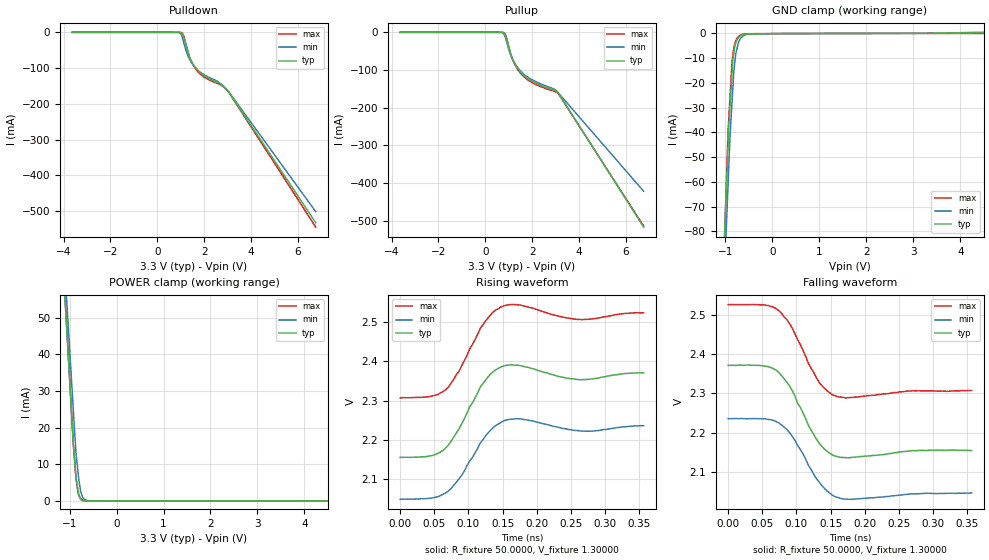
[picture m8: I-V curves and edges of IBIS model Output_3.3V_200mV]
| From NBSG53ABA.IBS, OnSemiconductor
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[Model] Output_3.3V_200mV
Model_type Output_ECL
Vref=1.30000V
Rref=50.0000ohms
Cref=0.00000pF
Vmeas=2.26000V
C_comp 500.0fF 500.0fF 500.0fF
[Model Spec]
Vmeas 2.262625   2.14142   2.415815
|Vref  1.30000V  1.1350V  1.4650V
|Rref  50ohms   50ohms   50ohms
|Cref  0.00pF   0.00pF   0.00pF
| variable typ   min   max
[Voltage Range]   3.30000V  3.13500V  3.46500V
[POWER Clamp Reference] 3.30000V  3.13500V  3.46500V
[Pullup Reference]   3.30000V  3.13500V  3.46500V
[Pulldown Reference]   3.30000V  3.13500V  3.46500V
[GND Clamp Reference]   0.00000V  0.00000V  0.00000V
[Temperature Range]  25   85   0
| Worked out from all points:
|   GND clamp passes 1 mA (typ) near -0.69 V on its own axis
|   POWER clamp passes 1 mA (typ) near -0.78 V on its own axis
|   falling waveform, R_fixture 50.0000, V_fixture 1.30000: 20-80 % time 38.3ps typ, 37.8ps min, 37.8ps max; typ from 2.37 V to 2.15 V
|   rising waveform, R_fixture 50.0000, V_fixture 1.30000: 20-80 % time 40.4ps typ, 41ps min, 39.6ps max; typ from 2.15 V to 2.37 V
[GND Clamp]
-3.3V     -1.415A    -1.34A     -1.377A
-1.023V   -84.87mA   -99.06mA   -85.41mA
-942mV    -45.21mA   -60.81mA   -39.4mA
-921.7mV  -35.26mA   -51.22mA   -32.53mA
-901.3mV  -29.04mA   -41.61mA   -25.64mA
-861.1mV  -16.75mA   -28.61mA   -12.03mA
-841mV    -10.61mA   -22.12mA   -8.898mA
-820.9mV  -7.934mA   -15.62mA   -5.756mA
-780.5mV  -4.005mA   -8.315mA   -2.949mA
-679.2mV  -888uA     -2.011mA   -648uA
61.72mV   -57.95uA   -46.75uA   -66uA
6.6V      1.235mA    57.49uA    37.43uA
[Pulldown]
-3.63V    47.47uA    70.46uA    65.04uA
853.2mV   44.99uA    -152.5uA   42.98uA
974.4mV   -220.6uA   -2.168mA   -111.8uA
1.062V    -3.538mA   -12.93mA   -1.973mA
1.143V    -16.48mA   -32.07mA   -13.17mA
1.314V    -54.8mA    -67.23mA   -56.77mA
1.479V    -83.55mA   -86.62mA   -85.36mA
1.644V    -99.83mA   -100.1mA   -103.1mA
2.002V    -121.6mA   -118.6mA   -125.2mA
2.694V    -144.2mA   -142.9mA   -146.5mA
3.064V    -167.9mA   -167.4mA   -168.9mA
6.765V    -532.6mA   -501.5mA   -544.7mA
[Pullup]
-3.63V    59.05uA    59.4uA     58.68uA
609.2mV   13.23uA    10.14uA    45.82uA
801.8mV   -1.795mA   -5.236mA   -1.191mA
877.1mV   -10.49mA   -17.55mA   -8.077mA
1.079V    -55.57mA   -59.67mA   -56.07mA
1.301V    -86.55mA   -86.67mA   -90.14mA
1.439V    -99.71mA   -97.91mA   -103mA
1.641V    -113.4mA   -110.5mA   -117.2mA
1.938V    -127.1mA   -123.6mA   -131mA
2.96V     -153.7mA   -151mA     -156.5mA
3.137V    -162.5mA   -161.7mA   -164.2mA
6.765V    -516.9mA   -421.7mA   -514.1mA
[POWER Clamp]
-3.3V     546.4mA    528.9mA    555.5mA
-1.059V   46.85mA    54.46mA    47.33mA
-918.1mV  15.34mA    24.53mA    15.28mA
-862.5mV  6.416mA    13.06mA    6.237mA
-821.7mV  3.116mA    8.172mA    2.402mA
-801.9mV  1.515mA    5.799mA    1.529mA
-761.4mV  441.8uA    2.504mA    637uA
-721.2mV  38.03uA    1.063mA    331.9uA
-700.8mV  32.66uA    638.2uA    222.6uA
-619.9mV  11.32uA    144uA      89.53uA
-497.9mV  0A         11.8uA     25.23uA
6.6V      0A         0A         0A
[Falling Waveform]
R_fixture = 50.0000
V_fixture = 1.30000
V_fixture_min = 1.13500
V_fixture_max = 1.46500
0s        2.371V     2.236V     2.525V
50.9ps    2.37V      2.235V     2.525V
74.5ps    2.353V     2.224V     2.51V
94.1ps    2.306V     2.191V     2.465V
117.6ps   2.219V     2.117V     2.376V
133.3ps   2.174V     2.075V     2.328V
145ps     2.153V     2.052V     2.307V
160.7ps   2.139V     2.036V     2.291V
270.5ps   2.155V     2.045V     2.307V
356.7ps   2.155V     2.047V     2.307V
[Rising Waveform]
R_fixture = 50.0000
V_fixture = 1.30000
V_fixture_min = 1.13500
V_fixture_max = 1.46500
0s        2.154V     2.047V     2.307V
47ps      2.159V     2.051V     2.312V
66.6ps    2.179V     2.063V     2.328V
90.1ps    2.24V      2.109V     2.389V
117.6ps   2.336V     2.192V     2.486V
137.2ps   2.375V     2.232V     2.528V
148.9ps   2.387V     2.245V     2.541V
176.4ps   2.389V     2.253V     2.544V
262.6ps   2.353V     2.222V     2.507V
356.7ps   2.371V     2.235V     2.525V
[Ramp]
| variable typ min max
dV/dt_r 131.610m/39.9757p 112.062m/40.7592p 131.512m/39.4386p
dV/dt_f 131.610m/37.8171p 112.062m/38.0812p 131.512m/37.4234p
R_load = 50.0000Ohms
